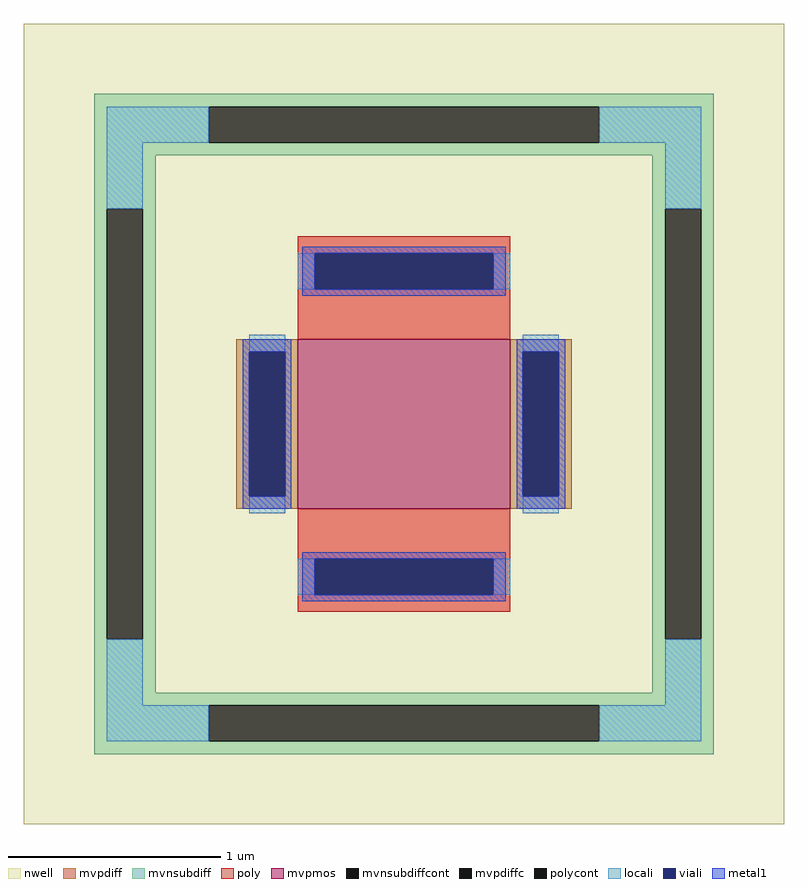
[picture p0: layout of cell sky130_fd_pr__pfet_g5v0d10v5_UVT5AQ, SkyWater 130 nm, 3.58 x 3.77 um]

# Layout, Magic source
magic
tech sky130A
magscale 1 2
<< nwell >>
rect -358 -377 358 377
<< mvpmos >>
rect -100 -80 100 80
<< mvpdiff >>
rect -158 68 -100 80
rect -158 -68 -146 68
rect -112 -68 -100 68
rect -158 -80 -100 -68
rect 100 68 158 80
rect 100 -68 112 68
rect 146 -68 158 68
rect 100 -80 158 -68
<< mvpdiffc >>
rect -146 -68 -112 68
rect 112 -68 146 68
<< mvnsubdiff >>
rect -292 299 292 311
rect -292 265 -184 299
rect 184 265 292 299
rect -292 253 292 265
rect -292 203 -234 253
rect -292 -203 -280 203
rect -246 -203 -234 203
rect 234 203 292 253
rect -292 -253 -234 -203
rect 234 -203 246 203
rect 280 -203 292 203
rect 234 -253 292 -203
rect -292 -265 292 -253
rect -292 -299 -184 -265
rect 184 -299 292 -265
rect -292 -311 292 -299
<< mvnsubdiffcont >>
rect -184 265 184 299
rect -280 -203 -246 203
rect 246 -203 280 203
rect -184 -299 184 -265
<< poly >>
rect -100 161 100 177
rect -100 127 -84 161
rect 84 127 100 161
rect -100 80 100 127
rect -100 -127 100 -80
rect -100 -161 -84 -127
rect 84 -161 100 -127
rect -100 -177 100 -161
<< polycont >>
rect -84 127 84 161
rect -84 -161 84 -127
<< locali >>
rect -280 265 -184 299
rect 184 265 280 299
rect -280 203 -246 265
rect 246 203 280 265
rect -100 127 -84 161
rect 84 127 100 161
rect -146 68 -112 84
rect -146 -84 -112 -68
rect 112 68 146 84
rect 112 -84 146 -68
rect -100 -161 -84 -127
rect 84 -161 100 -127
rect -280 -265 -246 -203
rect 246 -265 280 -203
rect -280 -299 -184 -265
rect 184 -299 280 -265
<< viali >>
rect -84 127 84 161
rect -146 -68 -112 68
rect 112 -68 146 68
rect -84 -161 84 -127
<< metal1 >>
rect -96 161 96 167
rect -96 127 -84 161
rect 84 127 96 161
rect -96 121 96 127
rect -152 68 -106 80
rect -152 -68 -146 68
rect -112 -68 -106 68
rect -152 -80 -106 -68
rect 106 68 152 80
rect 106 -68 112 68
rect 146 -68 152 68
rect 106 -80 152 -68
rect -96 -127 96 -121
rect -96 -161 -84 -127
rect 84 -161 96 -127
rect -96 -167 96 -161
<< properties >>
string FIXED_BBOX -263 -282 263 282
string gencell sky130_fd_pr__pfet_g5v0d10v5
string library sky130
string parameters w 0.8 l 1 m 1 nf 1 diffcov 100 polycov 100 guard 1 glc 1 grc 1 gtc 1 gbc 1 tbcov 100 rlcov 100 topc 1 botc 1 poverlap 0 doverlap 1 lmin 0.50 wmin 0.42 class mosfet compatible {sky130_fd_pr__pfet_01v8  sky130_fd_pr__pfet_01v8_lvt sky130_fd_pr__pfet_01v8_hvt  sky130_fd_pr__pfet_g5v0d10v5} full_metal 1 conn_gates 0 viasrc 100 viadrn 100 viagate 100 viagb 0 viagr 0 viagl 0 viagt 0 doports 1
<< end >>
